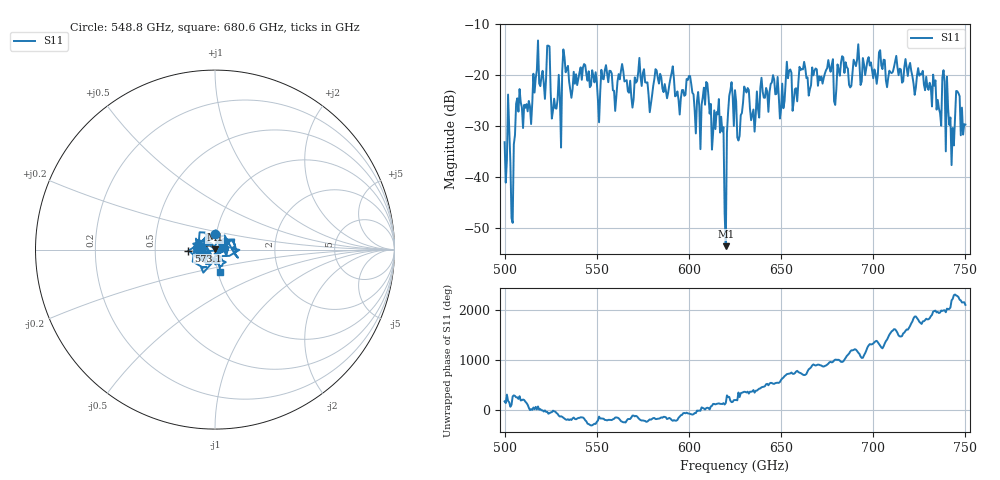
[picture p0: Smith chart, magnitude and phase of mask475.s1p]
!Created with skrf (http://scikit-rf.org).
# GHz S MA R 50.0
!freq magS11 angS11
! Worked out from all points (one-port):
!   401 points, 500 GHz to 750 GHz, reference 50 ohm
!   lowest |S11| = -53.6 dB at 620 GHz (marker M1), VSWR 1.00, Z = 49.8 + j0.123 ohm
!   |S11| at or under -10 dB: start of sweep to end of sweep
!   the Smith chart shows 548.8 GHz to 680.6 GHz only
!   S11 on the Smith chart (normalised r, x): 548.8 GHz: 0.98, +0.17; 573.1 GHz: 0.74, -0.01; 680.6 GHz: 1.03, -0.26
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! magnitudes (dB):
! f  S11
! 500 GHz  -33.1
! 504.4 GHz  -49.0
! 507.5 GHz  -27.1
! 513.8 GHz  -26.1
! 516.9 GHz  -20.6
! 523.8 GHz  -14.2
! 526.9 GHz  -24.6
! 531.2 GHz  -19.2
! 548.8 GHz  -21.4
! 562.5 GHz  -20.8
! 573.1 GHz  -16.6
! 593.8 GHz  -23.2
! 600 GHz  -20.2
! 605 GHz  -23.3
! 609.4 GHz  -21.3
! 617.5 GHz  -28.1
! 620 GHz  -53.6
! 622.5 GHz  -22.9
! 625 GHz  -22.9
! 656.2 GHz  -27.0
! 680.6 GHz  -17.9
! 687.5 GHz  -22.4
! 718.8 GHz  -20.1
! 735.6 GHz  -26.5
! 738.8 GHz  -21.2
! 742.5 GHz  -37.6
! 745.6 GHz  -23.1
! 750 GHz  -29.7
